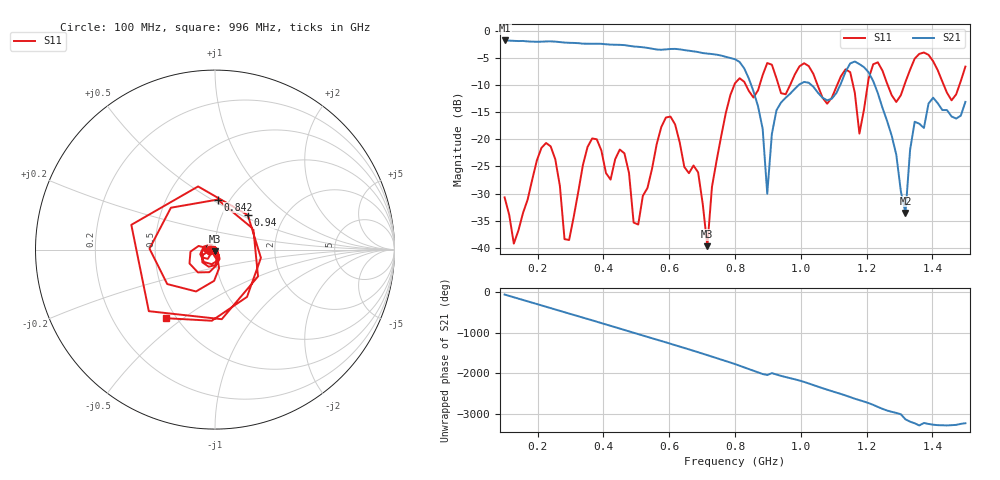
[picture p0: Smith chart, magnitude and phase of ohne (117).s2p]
! NanoVNA-App
! Date: 2025-09-25 17:39:12
! Start: 100MHz Stop: 1,5GHz Points: 101
! S-Parameter data: F S11 S21 S12 S22
# Hz S RI R 50
!  Frequency  S11_Real  S11_Imag  S21_Real  S21_Imag  S12_Real  S12_Imag  S22_Real  S22_Imag
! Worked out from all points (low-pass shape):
!   101 points, 100 MHz to 1.5 GHz, reference 50 ohm
!   highest |S21| = -1.80 dB at 100 MHz (marker M1); lowest = -33.5 dB at 1.318 GHz (marker M2)
!   |S21| within 3 dB of the highest: start of sweep to 771 MHz
!   lowest |S11| = -39.7 dB at 716 MHz (marker M3), VSWR 1.02, Z = 49.8 - j1.02 ohm
!   |S11| at or under -10 dB: start of sweep to 797.9 MHz; 833 MHz to 874.9 MHz (41.92 MHz wide, 4.91 % of centre); 1.051 GHz to 1.11 GHz (59.66 MHz wide, 5.52 % of centre)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
!   S12 and S22 are empty: the file has one direction only
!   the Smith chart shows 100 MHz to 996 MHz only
!   S11 on the Smith chart (normalised r, x): 100 MHz: 0.94, -0.01; 842 MHz: 0.88, +0.53; 940 MHz: 1.32, +0.55; 996 MHz: 0.44, -0.43
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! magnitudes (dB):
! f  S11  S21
! 100 MHz  -30.7  -1.8
! 128 MHz  -39.2  -1.9
! 226 MHz  -20.7  -2.0
! 296 MHz  -38.5  -2.2
! 338 MHz  -24.7  -2.4
! 464 MHz  -22.6  -2.7
! 506 MHz  -35.7  -3.0
! 576 MHz  -17.7  -3.5
! 688 MHz  -26.1  -3.9
! 716 MHz  -39.7  -4.2
! 800 MHz  -9.7  -5.3
! 842 MHz  -11.1  -8.8
! 898 MHz  -6.0  -30.0
! 940 MHz  -11.5  -13.2
! 996 MHz  -6.5  -9.9
! 1.038 GHz  -7.9  -10.3
! 1.178 GHz  -19.0  -6.2
! 1.22 GHz  -6.2  -9.3
! 1.276 GHz  -11.9  -19.3
! 1.318 GHz  -9.4  -33.5
! 1.346 GHz  -5.1  -16.8
! 1.5 GHz  -6.6  -13.1
